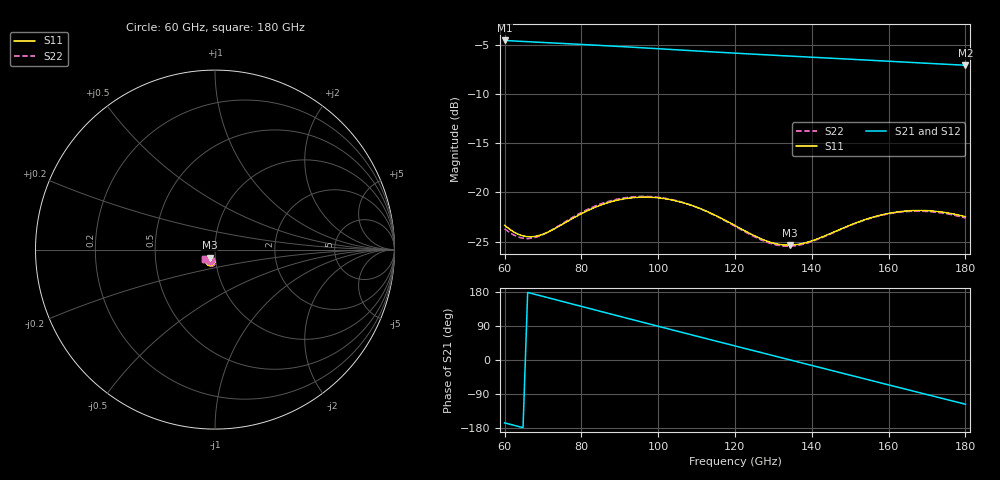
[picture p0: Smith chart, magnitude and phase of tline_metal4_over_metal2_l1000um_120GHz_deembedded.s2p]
! Created with skrf 2.2.0 (http://scikit-rf.org).
# GHz S DB R 50.0
! Port[1] = P1
! Port[2] = P2
!freq dBS11 angS11 dBS21 angS21 dBS12 angS12 dBS22 angS22
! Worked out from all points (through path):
!   101 points, 60 GHz to 180 GHz, reference 50 ohm
!   highest |S21| = -4.57 dB at 60 GHz (marker M1); lowest = -7.1 dB at 180 GHz (marker M2)
!   group delay of S21, straight-line fit = 7.19 ps
!   lowest |S11| = -25.3 dB at 134.4 GHz (marker M3), VSWR 1.11, Z = 47 - j4.31 ohm
!   |S11| at or under -10 dB: start of sweep to end of sweep
!   |S22| runs from -25.4 to -20.4 dB; largest |S21 - S12| = 6.2e-14
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60  -23.33 -115.1  -4.57 -165.9  -4.57 -165.9  -23.69 -112.6
64.8  -24.40 -106.0  -4.67 -178.5  -4.67 -178.5  -24.65 -102.5
68.4  -24.42 -98.5  -4.75 172.0  -4.75 172.0  -24.52 -94.8
74.4  -23.38 -91.3  -4.87 156.2  -4.87 156.2  -23.30 -88.2
80.4  -22.07 -91.9  -4.99 140.4  -4.99 140.4  -21.95 -89.5
86.4  -21.10 -97.2  -5.11 124.6  -5.11 124.6  -20.98 -95.4
91.2  -20.64 -103.2  -5.21 112.0  -5.21 112.0  -20.54 -101.7
96  -20.47 -109.8  -5.32 99.5  -5.32 99.5  -20.40 -108.6
100.8  -20.58 -116.5  -5.43 86.9  -5.43 86.9  -20.53 -115.4
105.6  -20.95 -122.7  -5.54 74.4  -5.54 74.4  -20.92 -121.8
110.4  -21.55 -128.1  -5.65 62.0  -5.65 62.0  -21.56 -127.3
120  -23.35 -133.6  -5.86 37.1  -5.86 37.1  -23.42 -132.9
127.2  -24.77 -130.7  -6.01 18.6  -6.01 18.6  -24.88 -129.8
134.4  -25.34 -122.2  -6.16 0.1  -6.16 0.1  -25.45 -120.9
140.4  -24.86 -115.6  -6.28 -15.4  -6.28 -15.4  -24.93 -114.3
145.2  -24.10 -113.2  -6.38 -27.7  -6.38 -27.7  -24.15 -112.0
151.2  -23.13 -113.9  -6.50 -43.1  -6.50 -43.1  -23.16 -112.9
156  -22.50 -116.6  -6.60 -55.4  -6.60 -55.4  -22.54 -115.8
160.8  -22.07 -120.5  -6.70 -67.7  -6.70 -67.7  -22.11 -119.8
165.6  -21.85 -124.9  -6.80 -80.0  -6.80 -80.0  -21.91 -124.4
170.4  -21.85 -129.5  -6.90 -92.2  -6.90 -92.2  -21.93 -129.0
180  -22.45 -137.2  -7.09 -116.6  -7.09 -116.6  -22.58 -136.9
